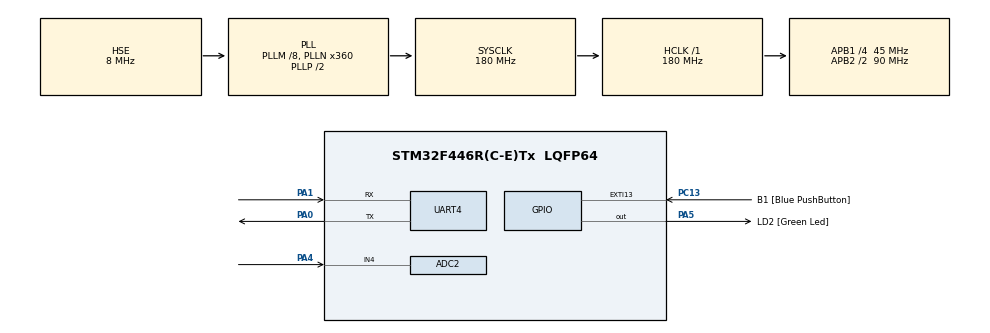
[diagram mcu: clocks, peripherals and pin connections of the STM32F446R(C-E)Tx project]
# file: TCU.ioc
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ADC2.Channel-0\#ChannelRegularConversion=ADC_CHANNEL_4
ADC2.NbrOfConversionFlag=1
ADC2.Rank-0\#ChannelRegularConversion=1
ADC2.Resolution=ADC_RESOLUTION_8B
ADC2.SamplingTime-0\#ChannelRegularConversion=ADC_SAMPLETIME_3CYCLES
Mcu.Family=STM32F4
Mcu.Name=STM32F446R(C-E)Tx
Mcu.Package=LQFP64
NVIC.ADC_IRQn=true\:0\:0\:false\:false\:true\:true\:true\:true
NVIC.PriorityGroup=NVIC_PRIORITYGROUP_0
PA0-WKUP.Mode=Asynchronous
PA0-WKUP.Signal=UART4_TX
PA1.Mode=Asynchronous
PA1.Signal=UART4_RX
PA13.GPIO_Label=TMS
PA13.Mode=Serial_Wire
PA13.Signal=SYS_JTMS-SWDIO
PA14.GPIO_Label=TCK
PA14.Mode=Serial_Wire
PA14.Signal=SYS_JTCK-SWCLK
PA4.Signal=ADCx_IN4
PA5.GPIO_Label=LD2 [Green Led]
PA5.Signal=GPIO_Output
PB3.GPIO_Label=SWO
PB3.Signal=SYS_JTDO-SWO
PC13.GPIO_Label=B1 [Blue PushButton]
PC13.GPIO_ModeDefaultEXTI=GPIO_MODE_IT_FALLING
PC13.Signal=GPXTI13
PC14-OSC32_IN.Mode=LSE-External-Oscillator
PC14-OSC32_IN.Signal=RCC_OSC32_IN
PC15-OSC32_OUT.Mode=LSE-External-Oscillator
PC15-OSC32_OUT.Signal=RCC_OSC32_OUT
PH0-OSC_IN.Mode=HSE-External-Oscillator
PH0-OSC_IN.Signal=RCC_OSC_IN
PH1-OSC_OUT.Mode=HSE-External-Oscillator
PH1-OSC_OUT.Signal=RCC_OSC_OUT
ProjectManager.HeapSize=0x200
ProjectManager.StackSize=0x400
ProjectManager.TargetToolchain=STM32CubeIDE
RCC.48MHZClocksFreq_Value=84000000
RCC.AHBFreq_Value=180000000
RCC.APB1CLKDivider=RCC_HCLK_DIV4
RCC.APB1Freq_Value=45000000
RCC.APB1TimFreq_Value=90000000
RCC.APB2CLKDivider=RCC_HCLK_DIV2
RCC.APB2Freq_Value=90000000
RCC.APB2TimFreq_Value=180000000
RCC.CortexFreq_Value=180000000
RCC.FLatency-AdvancedSettings=FLASH_LATENCY_5
RCC.HCLKFreq_Value=180000000
RCC.HSE_VALUE=8000000
RCC.HSI_VALUE=16000000
RCC.PLLM=8
RCC.PLLN=360
RCC.PLLSourceVirtual=RCC_PLLSOURCE_HSE
RCC.SYSCLKFreq_VALUE=180000000
RCC.SYSCLKSource=RCC_SYSCLKSOURCE_PLLCLK
RCC.USBFreq_Value=180000000
RCC.VCOOutputFreq_Value=360000000
SH.ADCx_IN4.0=ADC2_IN4,IN4
UART4.VirtualMode=Asynchronous
board=NUCLEO-F446RE

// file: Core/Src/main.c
/* USER CODE BEGIN Header */
/**
  ******************************************************************************
  * @file           : main.c
  * @brief          : Main program body
  ******************************************************************************
  * @attention
  *
  * Copyright (c) 2022 STMicroelectronics.
  * All rights reserved.
  *
  * This software is licensed under terms that can be found in the LICENSE file
  * in the root directory of this software component.
  * If no LICENSE file comes with this software, it is provided AS-IS.
  *
  ******************************************************************************
  */
/* USER CODE END Header */
#include "main.h"

/* USER CODE BEGIN Includes */
#include <string.h>
#include "../Inc/crc.h"

/* USER CODE END Includes */

/* USER CODE BEGIN PD */

#define Swap2Bytes(val) \
	( (((val) >> 8) & 0x00FF) | (((val) << 8) & 0xFF00) )
#define Swap4Bytes(val) \
	( (((val) >> 24) & 0x000000FF) | (((val) >>  8) & 0x0000FF00) | \
	(((val) <<  8) & 0x00FF0000) | (((val) << 24) & 0xFF000000) )
#define Swap8Bytes(val) \
	( (((val) >> 56) & 0x00000000000000FF) | (((val) >> 40) & 0x000000000000FF00) | \
			(((val) >> 24) & 0x0000000000FF0000) | (((val) >>  8) & 0x00000000FF000000) | \
			(((val) <<  8) & 0x000000FF00000000) | (((val) << 24) & 0x0000FF0000000000) | \
	   (((val) << 40) & 0x00FF000000000000) | (((val) << 56) & 0xFF00000000000000) )

/* USER CODE END PD */

 ADC_HandleTypeDef hadc2;

UART_HandleTypeDef huart4;

/* USER CODE BEGIN PV */
uint8_t label[] = "speeduino_mini_GPIOV0.003 201706";

uint8_t buffer;
uint8_t value;
uint8_t adc_value;

/* USER CODE END PV */

void SystemClock_Config(void);
static void MX_GPIO_Init(void);
static void MX_UART4_Init(void);
static void MX_ADC2_Init(void);

/* USER CODE BEGIN 0 */

#define SERIAL_RC_OK	0x00

/* USER CODE END 0 */

int main(void)
{

  /* MCU Configuration--------------------------------------------------------*/

  /* Reset of all peripherals, Initializes the Flash interface and the Systick. */
  HAL_Init();

  /* Configure the system clock */
  SystemClock_Config();

  /* Initialize all configured peripherals */
  MX_GPIO_Init();
  MX_UART4_Init();
  MX_ADC2_Init();

  /* Infinite loop */
  /* USER CODE BEGIN WHILE */

  while (1)
  {
	  HAL_ADC_Start_IT(&hadc2);
	  HAL_UART_Receive(&huart4, &buffer, 1, 10);

	  switch (buffer) {
		case 'Q':
		case 'S':
			buffer = 0;
			/*
			size_to_send = sizeof(label);
			uint8_t byte1 = (size_to_send >> 8);
			uint8_t byte2 = (size_to_send & 0xFF);
			// uint32_t crc32 = HAL_CRC_Calculate(&hcrc, (uint32_t*)label, sizeof(label));
			crc = Swap4Bytes(crc32((uint8_t*) label, sizeof(label)));
			HAL_UART_Transmit(&huart4, (uint8_t*) &byte1, sizeof(byte1), 10);
			HAL_UART_Transmit(&huart4, (uint8_t*) &byte2, sizeof(byte2), 10);
			HAL_UART_Transmit(&huart4, (uint8_t*) label, sizeof(label), 10);
			HAL_UART_Transmit(&huart4, (uint8_t*) &crc, sizeof(crc), 10);
			break;
			*/

			HAL_UART_Transmit(&huart4, (uint8_t*) label, sizeof(label), 10);
			break;

		case 'F':
			buffer = 0;
			/*
			uint8_t str[] = {0x00, '0', '0', '2'};
			size_to_send = sizeof(str);
			byte1 = (size_to_send >> 8);
			byte2 = (size_to_send & 0xFF);
			// uint32_t crc32 = HAL_CRC_Calculate(&hcrc, (uint32_t*)label, sizeof(label));
			crc = Swap4Bytes(crc32((uint8_t*) str, sizeof(str)));

			HAL_UART_Transmit(&huart4, (uint8_t*) &byte1, sizeof(byte1), 10);
			HAL_UART_Transmit(&huart4, (uint8_t*) &byte2, sizeof(byte2), 10);
			HAL_UART_Transmit(&huart4, (uint8_t*) str, sizeof(str), 10);
			HAL_UART_Transmit(&huart4, (uint8_t*) &crc, sizeof(crc), 10);

			*/
			uint8_t str[] = {'0', '0', '1'};
			HAL_UART_Transmit(&huart4, (uint8_t*) str, sizeof(str), 10);

			break;

		case 'P':
			buffer = 0;

			/*
			value = 0x00;
			HAL_UART_Transmit(&huart4, (uint8_t*) &value, sizeof(value), 10);
			*/
			break;

		case 'V':
			buffer = 0;

			value = 0x80;
			HAL_UART_Transmit(&huart4, (uint8_t*) &value, sizeof(value), 10);

			break;

		case 'A':
			buffer = 0;
			uint8_t tps;
			uint16_t temp;
			tps = (uint8_t)((float)((float)adc_value / 256.0)*100);
			HAL_UART_Transmit(&huart4, (uint8_t*) &tps, sizeof(tps), 10);

			uint16_t rpm;
			rpm = (uint16_t)(tps * 63);
			HAL_UART_Transmit(&huart4, (uint8_t*) &rpm, sizeof(rpm), 10);

			rpm = (uint16_t)(tps * 62);
			HAL_UART_Transmit(&huart4, (uint8_t*) &rpm, sizeof(rpm), 10);

			rpm = (uint16_t)(tps * 75);
			HAL_UART_Transmit(&huart4, (uint8_t*) &rpm, sizeof(rpm), 10);

			if (HAL_GPIO_ReadPin(GPIOC, GPIO_PIN_13))
			{
				tps = 0x0;
				HAL_GPIO_WritePin(GPIOA, GPIO_PIN_5, GPIO_PIN_RESET);
			} else {
				tps = 0x1;
				HAL_GPIO_WritePin(GPIOA, GPIO_PIN_5, GPIO_PIN_SET);
			}
			HAL_UART_Transmit(&huart4, (uint8_t*) &tps, sizeof(tps), 10);

			// temp = 255; --> 86°
			temp = 270; // 127°

			int16_t oiltemp = (int16_t) ((370-(temp))*.75);

			HAL_UART_Transmit(&huart4, (uint8_t*) &oiltemp, sizeof(oiltemp), 10);

			break;

		case 0:
			buffer = 0;

			break;
		default:
			buffer = 0;

			break;
	}

    /* USER CODE END WHILE */

  }
}

void SystemClock_Config(void)
{
  RCC_OscInitTypeDef RCC_OscInitStruct = {0};
  RCC_ClkInitTypeDef RCC_ClkInitStruct = {0};

  /** Configure the main internal regulator output voltage
  */
  __HAL_RCC_PWR_CLK_ENABLE();
  __HAL_PWR_VOLTAGESCALING_CONFIG(PWR_REGULATOR_VOLTAGE_SCALE1);

  /** Initializes the RCC Oscillators according to the specified parameters
  * in the RCC_OscInitTypeDef structure.
  */
  RCC_OscInitStruct.OscillatorType = RCC_OSCILLATORTYPE_HSE;
  RCC_OscInitStruct.HSEState = RCC_HSE_ON;
  RCC_OscInitStruct.PLL.PLLState = RCC_PLL_ON;
  RCC_OscInitStruct.PLL.PLLSource = RCC_PLLSOURCE_HSE;
  RCC_OscInitStruct.PLL.PLLM = 8;
  RCC_OscInitStruct.PLL.PLLN = 360;
  RCC_OscInitStruct.PLL.PLLP = RCC_PLLP_DIV2;
  RCC_OscInitStruct.PLL.PLLQ = 2;
  RCC_OscInitStruct.PLL.PLLR = 2;
  if (HAL_RCC_OscConfig(&RCC_OscInitStruct) != HAL_OK)
  {
    Error_Handler();
  }

  /** Activate the Over-Drive mode
  */
  if (HAL_PWREx_EnableOverDrive() != HAL_OK)
  {
    Error_Handler();
  }

  /** Initializes the CPU, AHB and APB buses clocks
  */
  RCC_ClkInitStruct.ClockType = RCC_CLOCKTYPE_HCLK|RCC_CLOCKTYPE_SYSCLK
                              |RCC_CLOCKTYPE_PCLK1|RCC_CLOCKTYPE_PCLK2;
  RCC_ClkInitStruct.SYSCLKSource = RCC_SYSCLKSOURCE_PLLCLK;
  RCC_ClkInitStruct.AHBCLKDivider = RCC_SYSCLK_DIV1;
  RCC_ClkInitStruct.APB1CLKDivider = RCC_HCLK_DIV4;
  RCC_ClkInitStruct.APB2CLKDivider = RCC_HCLK_DIV2;

  if (HAL_RCC_ClockConfig(&RCC_ClkInitStruct, FLASH_LATENCY_5) != HAL_OK)
  {
    Error_Handler();
  }
}

static void MX_ADC2_Init(void)
{

  ADC_ChannelConfTypeDef sConfig = {0};

  /** Configure the global features of the ADC (Clock, Resolution, Data Alignment and number of conversion)
  */
  hadc2.Instance = ADC2;
  hadc2.Init.ClockPrescaler = ADC_CLOCK_SYNC_PCLK_DIV4;
  hadc2.Init.Resolution = ADC_RESOLUTION_8B;
  hadc2.Init.ScanConvMode = DISABLE;
  hadc2.Init.ContinuousConvMode = DISABLE;
  hadc2.Init.DiscontinuousConvMode = DISABLE;
  hadc2.Init.ExternalTrigConvEdge = ADC_EXTERNALTRIGCONVEDGE_NONE;
  hadc2.Init.ExternalTrigConv = ADC_SOFTWARE_START;
  hadc2.Init.DataAlign = ADC_DATAALIGN_RIGHT;
  hadc2.Init.NbrOfConversion = 1;
  hadc2.Init.DMAContinuousRequests = DISABLE;
  hadc2.Init.EOCSelection = ADC_EOC_SINGLE_CONV;
  if (HAL_ADC_Init(&hadc2) != HAL_OK)
  {
    Error_Handler();
  }

  /** Configure for the selected ADC regular channel its corresponding rank in the sequencer and its sample time.
  */
  sConfig.Channel = ADC_CHANNEL_4;
  sConfig.Rank = 1;
  sConfig.SamplingTime = ADC_SAMPLETIME_3CYCLES;
  if (HAL_ADC_ConfigChannel(&hadc2, &sConfig) != HAL_OK)
  {
    Error_Handler();
  }

}

static void MX_UART4_Init(void)
{

  huart4.Instance = UART4;
  huart4.Init.BaudRate = 115200;
  huart4.Init.WordLength = UART_WORDLENGTH_8B;
  huart4.Init.StopBits = UART_STOPBITS_1;
  huart4.Init.Parity = UART_PARITY_NONE;
  huart4.Init.Mode = UART_MODE_TX_RX;
  huart4.Init.HwFlowCtl = UART_HWCONTROL_NONE;
  huart4.Init.OverSampling = UART_OVERSAMPLING_16;
  if (HAL_UART_Init(&huart4) != HAL_OK)
  {
    Error_Handler();
  }

}

static void MX_GPIO_Init(void)
{
  GPIO_InitTypeDef GPIO_InitStruct = {0};

  /* GPIO Ports Clock Enable */
  __HAL_RCC_GPIOC_CLK_ENABLE();
  __HAL_RCC_GPIOH_CLK_ENABLE();
  __HAL_RCC_GPIOA_CLK_ENABLE();
  __HAL_RCC_GPIOB_CLK_ENABLE();

  /*Configure GPIO pin Output Level */
  HAL_GPIO_WritePin(LD2_GPIO_Port, LD2_Pin, GPIO_PIN_RESET);

  /*Configure GPIO pin : B1_Pin */
  GPIO_InitStruct.Pin = B1_Pin;
  GPIO_InitStruct.Mode = GPIO_MODE_IT_FALLING;
  GPIO_InitStruct.Pull = GPIO_NOPULL;
  HAL_GPIO_Init(B1_GPIO_Port, &GPIO_InitStruct);

  /*Configure GPIO pin : LD2_Pin */
  GPIO_InitStruct.Pin = LD2_Pin;
  GPIO_InitStruct.Mode = GPIO_MODE_OUTPUT_PP;
  GPIO_InitStruct.Pull = GPIO_NOPULL;
  GPIO_InitStruct.Speed = GPIO_SPEED_FREQ_LOW;
  HAL_GPIO_Init(LD2_GPIO_Port, &GPIO_InitStruct);

}

/* USER CODE BEGIN 4 */

void HAL_ADC_ConvCpltCallback(ADC_HandleTypeDef* hadc)
{
    // Read & Update The ADC Result
	adc_value = HAL_ADC_GetValue(&hadc2);
}

/* USER CODE END 4 */

void Error_Handler(void)
{
  __disable_irq();
  while (1)
  {
  }
}
